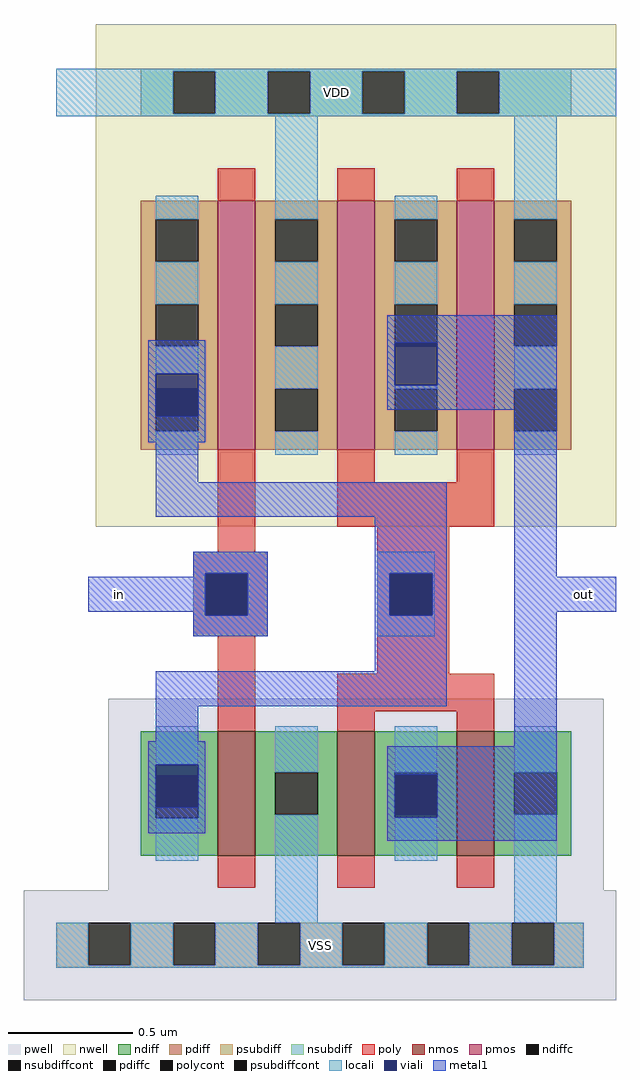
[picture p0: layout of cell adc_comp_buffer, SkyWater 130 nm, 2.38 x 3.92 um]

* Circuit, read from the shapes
.subckt adc_comp_buffer out in VSS VDD
XM1 VSS in n1 VSS sky130_fd_pr__nfet_01v8 w=0.5 l=0.15
XM2 out n1 VSS VSS sky130_fd_pr__nfet_01v8 w=0.5 l=0.15 m=2
XM3 VDD in n1 VDD sky130_fd_pr__pfet_01v8 w=1 l=0.15
XM4 out n1 VDD VDD sky130_fd_pr__pfet_01v8 w=1 l=0.15 m=2
.ends

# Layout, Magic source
magic
tech sky130A
magscale 1 2
<< nwell >>
rect -10 48 408 452
<< pwell >>
rect 0 -244 398 -90
rect -68 -332 408 -244
<< nmos >>
rect 88 -216 118 -116
rect 184 -216 214 -116
rect 280 -216 310 -116
<< pmos >>
rect 88 110 118 310
rect 184 110 214 310
rect 280 110 310 310
<< ndiff >>
rect 26 -152 88 -116
rect 26 -186 38 -152
rect 72 -186 88 -152
rect 26 -216 88 -186
rect 118 -149 184 -116
rect 118 -183 134 -149
rect 168 -183 184 -149
rect 118 -216 184 -183
rect 214 -149 280 -116
rect 214 -183 230 -149
rect 264 -183 280 -149
rect 214 -216 280 -183
rect 310 -149 372 -116
rect 310 -183 326 -149
rect 360 -183 372 -149
rect 310 -216 372 -183
<< pdiff >>
rect 26 295 88 310
rect 26 261 38 295
rect 72 261 88 295
rect 26 227 88 261
rect 26 193 38 227
rect 72 193 88 227
rect 26 159 88 193
rect 26 125 38 159
rect 72 125 88 159
rect 26 110 88 125
rect 118 295 184 310
rect 118 261 134 295
rect 168 261 184 295
rect 118 227 184 261
rect 118 193 134 227
rect 168 193 184 227
rect 118 159 184 193
rect 118 125 134 159
rect 168 125 184 159
rect 118 110 184 125
rect 214 295 280 310
rect 214 261 230 295
rect 264 261 280 295
rect 214 227 280 261
rect 214 193 230 227
rect 264 193 280 227
rect 214 159 280 193
rect 214 125 230 159
rect 264 125 280 159
rect 214 110 280 125
rect 310 295 372 310
rect 310 261 326 295
rect 360 261 372 295
rect 310 227 372 261
rect 310 193 326 227
rect 360 193 372 227
rect 310 159 372 193
rect 310 125 326 159
rect 360 125 372 159
rect 310 110 372 125
<< ndiffc >>
rect 38 -186 72 -152
rect 134 -183 168 -149
rect 230 -183 264 -149
rect 326 -183 360 -149
<< pdiffc >>
rect 38 261 72 295
rect 38 193 72 227
rect 38 125 72 159
rect 134 261 168 295
rect 134 193 168 227
rect 134 125 168 159
rect 230 261 264 295
rect 230 193 264 227
rect 230 125 264 159
rect 326 261 360 295
rect 326 193 360 227
rect 326 125 360 159
<< psubdiff >>
rect -42 -304 -16 -270
rect 18 -304 52 -270
rect 86 -304 120 -270
rect 154 -304 188 -270
rect 222 -304 256 -270
rect 290 -304 324 -270
rect 358 -304 382 -270
rect -42 -306 382 -304
<< nsubdiff >>
rect 26 414 372 416
rect 26 380 52 414
rect 86 380 128 414
rect 162 380 204 414
rect 238 380 280 414
rect 314 380 372 414
rect 26 378 372 380
<< psubdiffcont >>
rect -16 -304 18 -270
rect 52 -304 86 -270
rect 120 -304 154 -270
rect 188 -304 222 -270
rect 256 -304 290 -270
rect 324 -304 358 -270
<< nsubdiffcont >>
rect 52 380 86 414
rect 128 380 162 414
rect 204 380 238 414
rect 280 380 314 414
<< poly >>
rect 88 310 118 336
rect 184 310 214 336
rect 280 310 310 336
rect 88 28 118 110
rect 184 84 214 110
rect 280 84 310 110
rect 184 48 310 84
rect 68 11 128 28
rect 68 -23 78 11
rect 112 -23 128 11
rect 68 -40 128 -23
rect 216 11 274 48
rect 216 -23 226 11
rect 260 -23 274 11
rect 88 -116 118 -40
rect 216 -70 274 -23
rect 184 -100 310 -70
rect 184 -116 214 -100
rect 280 -116 310 -100
rect 88 -242 118 -216
rect 184 -242 214 -216
rect 280 -242 310 -216
<< polycont >>
rect 78 -23 112 11
rect 226 -23 260 11
<< locali >>
rect -42 414 408 416
rect -42 380 52 414
rect 86 380 128 414
rect 162 380 204 414
rect 238 380 280 414
rect 314 380 408 414
rect -42 378 408 380
rect 38 295 72 314
rect 38 227 72 261
rect 38 171 72 193
rect 38 106 72 125
rect 134 295 168 378
rect 134 227 168 261
rect 134 159 168 193
rect 134 106 168 125
rect 230 295 264 314
rect 230 227 264 261
rect 230 159 264 162
rect 230 106 264 125
rect 326 295 360 378
rect 326 227 360 261
rect 326 159 360 193
rect 326 106 360 125
rect 68 11 128 28
rect 68 -23 78 11
rect 112 -23 128 11
rect 68 -40 128 -23
rect 216 11 262 28
rect 216 -23 226 11
rect 260 -23 262 11
rect 216 -40 262 -23
rect 38 -143 72 -112
rect 38 -220 72 -186
rect 134 -149 168 -112
rect 134 -270 168 -183
rect 230 -149 264 -112
rect 230 -220 264 -185
rect 326 -149 360 -112
rect 326 -270 360 -183
rect -42 -304 -16 -270
rect 18 -304 52 -270
rect 86 -304 120 -270
rect 154 -304 188 -270
rect 222 -304 256 -270
rect 290 -304 324 -270
rect 358 -304 382 -270
rect -42 -306 382 -304
<< viali >>
rect 38 159 72 171
rect 38 137 72 159
rect 230 193 264 196
rect 230 162 264 193
rect 78 -23 112 11
rect 226 -23 260 11
rect 38 -152 72 -143
rect 38 -177 72 -152
rect 230 -183 264 -151
rect 230 -185 264 -183
<< metal1 >>
rect 32 171 78 198
rect 32 137 38 171
rect 72 137 78 171
rect 224 196 360 218
rect 224 162 230 196
rect 264 162 360 196
rect 224 142 360 162
rect 32 116 78 137
rect 38 84 72 116
rect 38 56 272 84
rect 68 11 128 28
rect 68 8 78 11
rect -16 -20 78 8
rect 68 -23 78 -20
rect 112 -23 128 11
rect 68 -40 128 -23
rect 214 11 272 56
rect 214 -23 226 11
rect 260 -23 272 11
rect 214 -68 272 -23
rect 38 -96 272 -68
rect 326 8 360 142
rect 326 -20 408 8
rect 38 -124 72 -96
rect 32 -143 78 -124
rect 326 -128 360 -20
rect 32 -177 38 -143
rect 72 -177 78 -143
rect 32 -198 78 -177
rect 224 -151 360 -128
rect 224 -185 230 -151
rect 264 -185 360 -151
rect 224 -204 360 -185
<< labels >>
flabel metal1 s 356 -20 408 8 0 FreeSans 200 0 0 0 out
port 1 nsew
flabel metal1 s -16 -20 34 8 0 FreeSans 200 0 0 0 in
port 2 nsew
flabel locali s -42 -306 382 -270 0 FreeSans 200 0 0 0 VSS
port 3 nsew
flabel locali s -42 378 408 416 0 FreeSans 200 0 0 0 VDD
port 4 nsew
<< properties >>
string GDS_END 5872
string GDS_FILE adc_top.gds.gz
string GDS_START 110
<< end >>
